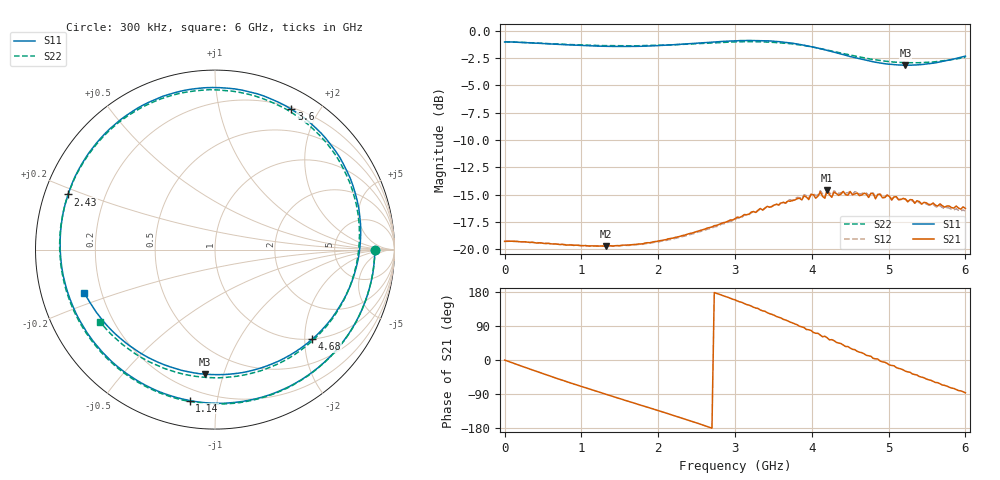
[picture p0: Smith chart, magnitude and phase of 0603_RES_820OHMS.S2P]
!Agilent Technologies,E5071C,MY46106283,A.09.10
!Date: Tue Jan 23 23:37:45 2001
!Data & Calibration Information:
!Freq	S11:SOLT2(ON)	S41:SOLT2(ON)	S14:SOLT2(ON)	S44:SOLT2(ON)
# Hz S dB R 50
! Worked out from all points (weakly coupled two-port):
!   201 points, 300 kHz to 6 GHz, reference 50 ohm
!   highest |S21| = -14.60 dB at 4.2 GHz (marker M1); lowest = -19.7 dB at 1.32 GHz (marker M2)
!   lowest |S11| = -3.1 dB at 5.22 GHz (marker M3), VSWR 5.59, Z = 16.2 - j43.5 ohm
!   |S11| at or under -10 dB: nowhere
!   |S22| runs from -2.9 to -1.0 dB; largest |S21 - S12| = 0.0061
!   S11 on the Smith chart (normalised r, x): 300 kHz: 17, -0; 1.14 GHz: 0.14, -0.84; 2.43 GHz: 0.07, +0.18; 3.6 GHz: 0.22, +1.66; 4.68 GHz: 1.00, -2.18; 6 GHz: 0.14, -0.16
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300000  -1.02 -0.0  -19.28 -0.3  -19.26 -0.6  -1.00 -0.0
2.702865e8  -1.08 -24.7  -19.32 -19.8  -19.34 -19.7  -1.07 -24.4
5.40273e8  -1.18 -48.6  -19.48 -38.6  -19.47 -38.8  -1.16 -48.1
7.80261e8  -1.27 -69.4  -19.59 -55.3  -19.57 -55.4  -1.23 -68.4
1.020249e9  -1.35 -89.6  -19.68 -71.1  -19.67 -71.2  -1.30 -87.9
1.140243e9  -1.38 -99.5  -19.69 -79.0  -19.70 -79.1  -1.33 -97.3
1.320234e9  -1.41 -114.1  -19.72 -90.6  -19.71 -90.7  -1.35 -111.2
1.680216e9  -1.42 -142.6  -19.57 -113.4  -19.61 -113.6  -1.37 -138.1
2.0102e9  -1.35 -168.1  -19.23 -134.0  -19.32 -134.1  -1.32 -162.1
2.430178e9  -1.17 159.4  -18.53 -161.4  -18.62 -161.3  -1.20 167.1
2.700165e9  -1.04 138.2  -17.96 -179.9  -18.07 -179.3  -1.11 146.5
3.00015e9  -0.92 113.8  -17.21 158.8  -17.30 159.7  -1.01 122.7
3.300135e9  -0.89 88.2  -16.42 136.0  -16.47 136.8  -1.00 97.0
3.60012e9  -1.01 61.5  -15.76 110.8  -15.68 111.9  -1.10 69.9
4.020099e9  -1.49 21.9  -15.00 72.8  -14.90 73.9  -1.50 29.3
4.20009e9  -1.79 4.5  -14.60 58.7  -14.55 59.2  -1.75 11.4
4.440078e9  -2.23 -19.0  -15.01 35.6  -14.85 36.1  -2.12 -12.3
4.680066e9  -2.65 -42.6  -14.87 16.4  -14.82 15.6  -2.47 -35.6
5.01005e9  -3.06 -74.6  -15.16 -13.1  -15.11 -13.6  -2.82 -66.6
5.220039e9  -3.14 -94.5  -15.41 -29.6  -15.43 -30.3  -2.92 -85.3
5.580021e9  -2.96 -126.8  -15.77 -56.3  -15.89 -57.6  -2.85 -115.5
6e9  -2.31 -161.7  -16.26 -86.7  -16.49 -87.5  -2.42 -147.7
